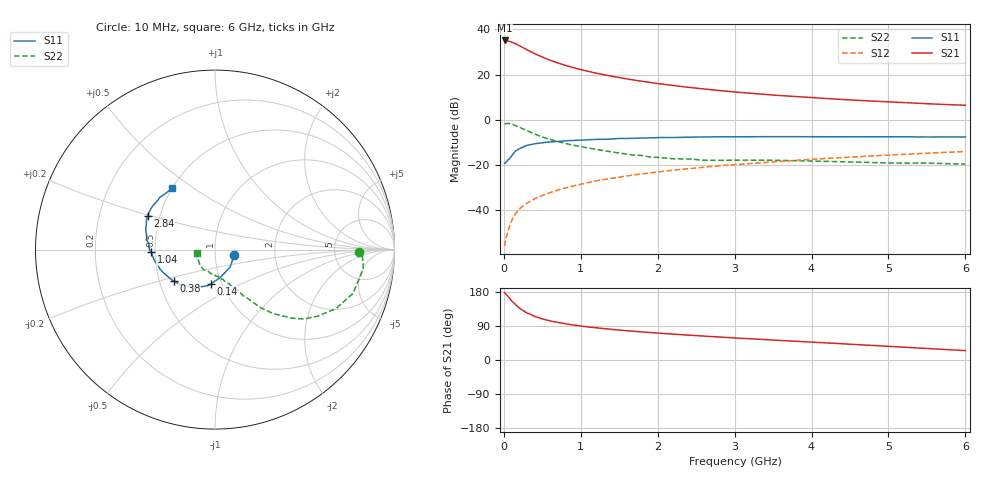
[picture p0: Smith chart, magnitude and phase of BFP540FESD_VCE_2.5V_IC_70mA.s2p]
! Infineon Technologies  Discrete & RF Semiconductors
! BFP540FESD
! VCE =  2.5 V,  IC =  70 mA
! Common Emitter S-Parameters:  Nov 2015
# GHz  S  MA  R  50
!  f  S11  S21  S12  S22
! GHz  MAG  ANG  MAG  ANG  MAG  ANG  MAG  ANG
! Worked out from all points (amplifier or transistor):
!   210 points, 10 MHz to 6 GHz, reference 50 ohm
!   highest |S21| = 35.1 dB at 10 MHz (marker M1)
!   |S21| within 3 dB of that: start of sweep to 238.6 MHz
!   unconditionally stable (mu >= 1): start of sweep to 40.4 MHz; 910.3 MHz to end of sweep
!   at 185 MHz: K = 0.61, MSG = 36.6 dB, |S12| = -40.1 dB
!   at 1.52 GHz: K = 1.08, MAG = 20.2 dB, |S12| = -25.3 dB
!   at 6 GHz: K = 1.20, MAG = 7.5 dB, |S12| = -14.0 dB
!   S11 on the Smith chart (normalised r, x): 10 MHz: 1.23, -0.07; 140 MHz: 0.89, -0.35; 380 MHz: 0.59, -0.23; 1.04 GHz: 0.47, -0.01; 2.84 GHz: 0.43, +0.19; 6 GHz: 0.50, +0.41
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0.01  0.1085 -14.8  56.91 177.6  0.0016 119.2  0.8029 -1.1
0.02  0.1126 -27.3  55.6 175.7  0.0021 102.1  0.8194 -0.4
0.05  0.1288 -49.2  55.58 168.4  0.0032 94.6  0.8334 -7.3
0.1  0.1588 -79.8  52.57 156.3  0.0058 81.2  0.8066 -17.6
0.14  0.1928 -97.1  49.28 148.3  0.0077 79.2  0.761 -24.1
0.15  0.2034 -100.4  48.62 146.1  0.0082 78.9  0.7512 -25.8
0.2  0.2294 -113.8  43.77 137.2  0.0106 75.7  0.6858 -32.6
0.24  0.2452 -122.5  40.17 131.7  0.012 74.1  0.6389 -36.9
0.3  0.2726 -133.1  35.43 124.1  0.0143 73.6  0.5722 -41.8
0.38  0.2893 -143.0  30.21 117.1  0.0172 72.3  0.5009 -46.3
0.5  0.3109 -153.8  24.33 108.3  0.0212 71.0  0.4153 -51.6
0.6  0.3248 -160.2  20.73 103.2  0.0244 71.7  0.3663 -54.0
0.8  0.3442 -170.0  15.95 95.4  0.0311 72.8  0.2986 -58.7
1.02  0.3553 -177.2  12.63 89.1  0.0383 71.0  0.2505 -62.1
1.04  0.3571 -177.8  12.4 88.7  0.039 70.9  0.247 -62.7
1.5  0.3866 172.1  8.558 79.0  0.0538 69.2  0.1851 -73.1
2.02  0.4042 162.7  6.268 70.7  0.071 66.1  0.1467 -88.4
2.84  0.4197 153.6  4.381 60.2  0.0974 60.7  0.1267 -110.1
3.1  0.4218 151.0  4.007 57.2  0.1047 59.1  0.1278 -115.3
4.1  0.4225 143.7  3.018 46.1  0.1366 52.4  0.121 -131.1
5.1  0.4218 135.5  2.446 34.9  0.1691 44.2  0.1104 -146.7
6  0.4181 124.9  2.095 24.8  0.1984 36.4  0.1047 -168.5
